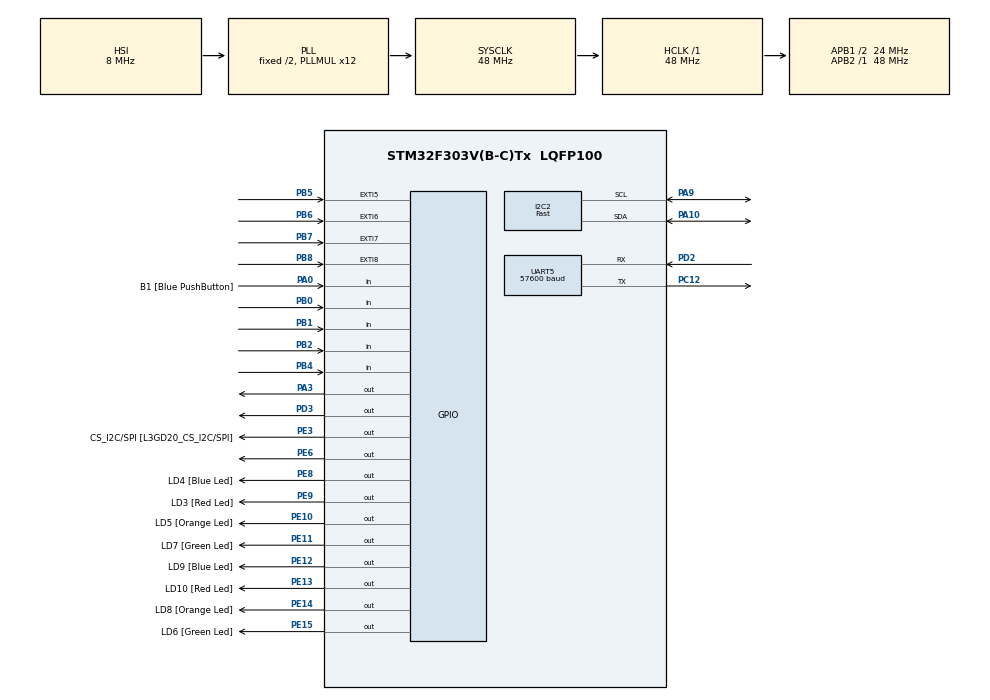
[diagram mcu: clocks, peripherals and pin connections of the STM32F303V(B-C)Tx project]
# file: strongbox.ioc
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I2C2.I2C_Speed_Mode=I2C_Fast
I2C2.Timing=0x0000020B
Mcu.Family=STM32F3
Mcu.Name=STM32F303V(B-C)Tx
Mcu.Package=LQFP100
NVIC.EXTI9_5_IRQn=true\:0\:0\:false\:false\:true\:true\:true\:true
NVIC.PriorityGroup=NVIC_PRIORITYGROUP_4
PA0.GPIO_Label=B1 [Blue PushButton]
PA0.GPIO_Mode=GPIO_MODE_INPUT
PA0.GPIO_PuPd=GPIO_NOPULL
PA0.Signal=GPIO_Input
PA10.Mode=I2C
PA10.Signal=I2C2_SDA
PA11.GPIO_Label=DM
PA11.Signal=USB_DM
PA12.GPIO_Label=DP
PA12.Signal=USB_DP
PA13.GPIO_Label=SWDIO
PA13.Mode=Serial_Wire
PA13.Signal=SYS_JTMS-SWDIO
PA14.GPIO_Label=SWCLK
PA14.Mode=Serial_Wire
PA14.Signal=SYS_JTCK-SWCLK
PA3.Signal=GPIO_Output
PA5.GPIO_Label=SPI1_SCK [L3GD20_SCL/SPC]
PA5.GPIO_Mode=GPIO_MODE_AF_PP
PA5.GPIO_PuPd=GPIO_NOPULL
PA5.GPIO_Speed=GPIO_SPEED_FREQ_LOW
PA5.Signal=SPI1_SCK
PA6.GPIO_Label=SPI1_MISO [L3GD20_SA0/SDO]
PA6.GPIO_Mode=GPIO_MODE_AF_PP
PA6.GPIO_PuPd=GPIO_NOPULL
PA6.GPIO_Speed=GPIO_SPEED_FREQ_LOW
PA6.Signal=SPI1_MISO
PA7.GPIO_Label=SPI1_MISO [L3GD20_SDA/SDI/SDO]
PA7.GPIO_Mode=GPIO_MODE_AF_PP
PA7.GPIO_PuPd=GPIO_NOPULL
PA7.GPIO_Speed=GPIO_SPEED_FREQ_LOW
PA7.Signal=SPI1_MOSI
PA9.Mode=I2C
PA9.Signal=I2C2_SCL
PB0.Signal=GPIO_Input
PB1.Signal=GPIO_Input
PB2.Signal=GPIO_Input
PB3.GPIO_Label=SWO
PB3.Signal=SYS_JTDO-TRACESWO
PB4.Signal=GPIO_Input
PB5.GPIO_ModeDefaultEXTI=GPIO_MODE_IT_FALLING
PB5.Signal=GPXTI5
PB6.GPIO_ModeDefaultEXTI=GPIO_MODE_IT_FALLING
PB6.Signal=GPXTI6
PB7.GPIO_ModeDefaultEXTI=GPIO_MODE_IT_FALLING
PB7.Signal=GPXTI7
PB8.GPIO_ModeDefaultEXTI=GPIO_MODE_IT_FALLING
PB8.Signal=GPXTI8
PC12.Mode=Asynchronous
PC12.Signal=UART5_TX
PC14-OSC32_IN.GPIO_Label=OSC32_IN
PC14-OSC32_IN.Signal=RCC_OSC32_IN
PC15-OSC32_OUT.GPIO_Label=OSC32_OUT
PC15-OSC32_OUT.Signal=RCC_OSC32_OUT
PD2.Mode=Asynchronous
PD2.Signal=UART5_RX
PD3.Signal=GPIO_Output
PE10.GPIO_Label=LD5 [Orange Led]
PE10.GPIO_ModeDefaultOutputPP=GPIO_MODE_OUTPUT_PP
PE10.GPIO_PuPd=GPIO_NOPULL
PE10.GPIO_Speed=GPIO_SPEED_FREQ_LOW
PE10.Signal=GPIO_Output
PE11.GPIO_Label=LD7 [Green Led]
PE11.GPIO_ModeDefaultOutputPP=GPIO_MODE_OUTPUT_PP
PE11.GPIO_PuPd=GPIO_NOPULL
PE11.GPIO_Speed=GPIO_SPEED_FREQ_LOW
PE11.Signal=GPIO_Output
PE12.GPIO_Label=LD9 [Blue Led]
PE12.GPIO_ModeDefaultOutputPP=GPIO_MODE_OUTPUT_PP
PE12.GPIO_PuPd=GPIO_NOPULL
PE12.GPIO_Speed=GPIO_SPEED_FREQ_LOW
PE12.Signal=GPIO_Output
PE13.GPIO_Label=LD10 [Red Led]
PE13.GPIO_ModeDefaultOutputPP=GPIO_MODE_OUTPUT_PP
PE13.GPIO_PuPd=GPIO_NOPULL
PE13.GPIO_Speed=GPIO_SPEED_FREQ_LOW
PE13.Signal=GPIO_Output
PE14.GPIO_Label=LD8 [Orange Led]
PE14.GPIO_ModeDefaultOutputPP=GPIO_MODE_OUTPUT_PP
PE14.GPIO_PuPd=GPIO_NOPULL
PE14.GPIO_Speed=GPIO_SPEED_FREQ_LOW
PE14.Signal=GPIO_Output
PE15.GPIO_Label=LD6 [Green Led]
PE15.GPIO_ModeDefaultOutputPP=GPIO_MODE_OUTPUT_PP
PE15.GPIO_PuPd=GPIO_NOPULL
PE15.GPIO_Speed=GPIO_SPEED_FREQ_LOW
PE15.Signal=GPIO_Output
PE3.GPIO_Label=CS_I2C/SPI [L3GD20_CS_I2C/SPI]
PE3.GPIO_ModeDefaultOutputPP=GPIO_MODE_OUTPUT_PP
PE3.GPIO_PuPd=GPIO_NOPULL
PE3.GPIO_Speed=GPIO_SPEED_FREQ_LOW
PE3.Signal=GPIO_Output
PE6.Signal=GPIO_Output
PE8.GPIO_Label=LD4 [Blue Led]
PE8.GPIO_ModeDefaultOutputPP=GPIO_MODE_OUTPUT_PP
PE8.GPIO_PuPd=GPIO_NOPULL
PE8.GPIO_Speed=GPIO_SPEED_FREQ_LOW
PE8.Signal=GPIO_Output
PE9.GPIO_Label=LD3 [Red Led]
PE9.GPIO_ModeDefaultOutputPP=GPIO_MODE_OUTPUT_PP
PE9.GPIO_PuPd=GPIO_NOPULL
PE9.GPIO_Speed=GPIO_SPEED_FREQ_LOW
PE9.Signal=GPIO_Output
PF0-OSC_IN.GPIO_Label=OSC_IN
PF0-OSC_IN.Signal=RCC_OSC_IN
PF1-OSC_OUT.GPIO_Label=OSC_OUT
PF1-OSC_OUT.Signal=RCC_OSC_OUT
ProjectManager.HeapSize=0x200
ProjectManager.StackSize=0x400
ProjectManager.TargetToolchain=STM32CubeIDE
RCC.AHBFreq_Value=48000000
RCC.APB1CLKDivider=RCC_HCLK_DIV2
RCC.APB1Freq_Value=24000000
RCC.APB1TimFreq_Value=48000000
RCC.APB2Freq_Value=48000000
RCC.APB2TimFreq_Value=48000000
RCC.CortexFreq_Value=48000000
RCC.HCLKFreq_Value=48000000
RCC.HSE_VALUE=8000000
RCC.HSI_VALUE=8000000
RCC.LSE_VALUE=32768
RCC.PLLMUL=RCC_PLL_MUL12
RCC.SYSCLKFreq_VALUE=48000000
RCC.SYSCLKSourceVirtual=RCC_SYSCLKSOURCE_PLLCLK
RCC.USBFreq_Value=48000000
UART5.BaudRate=57600
board=STM32F3DISCOVERY

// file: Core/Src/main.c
/* USER CODE BEGIN Header */
/**
  ******************************************************************************
  * @file           : main.c
  * @brief          : Main program body
  ******************************************************************************
  * @attention
  *
  * Copyright (c) 2024 STMicroelectronics.
  * All rights reserved.
  *
  * This software is licensed under terms that can be found in the LICENSE file
  * in the root directory of this software component.
  * If no LICENSE file comes with this software, it is provided AS-IS.
  *
  ******************************************************************************
  */
/* USER CODE END Header */
#include "main.h"

/* USER CODE BEGIN Includes */

#include "KEYPAD.h"
#include "ssd1306.h"
#include "ssd1306_font.h"
#include "fingerprint.h"

/* USER CODE END Includes */

I2C_HandleTypeDef hi2c2;

UART_HandleTypeDef huart5;

/* USER CODE BEGIN PV */

// -----------------------------------
//		CONFIGURATION
//
// -- BUZZER on PD3
//
// -- RELAY on PE6
//
// -- KEYPAD
// -- rows     PB0-PB1-PB2-PB4
// -- columns  PB5-PB6-PB7-PB8

// display SDA PA10  - SCL PA9
//
// -----------------------------------

// -- MAPPING TASTI KEYPAD
#define KEY_1       0
#define KEY_2       1
#define KEY_3       2
#define KEY_A       3
#define KEY_4       4
#define KEY_5       5
#define KEY_6       6
#define KEY_B       7
#define KEY_7       8
#define KEY_8       9
#define KEY_9       10
#define KEY_C       11
#define KEY_S       12
#define KEY_0       13
#define KEY_H       14
#define KEY_D       15

// -- VARIABILI GLOBALI
uint8_t gu8_KeyStatesArr[KEYS] = {0};
uint8_t password[4] = {0};						// password inserita
uint8_t correct_psw[4] = {'1','7','2','8'};		// password corretta
volatile uint8_t counter = 0; 					// contatore char immessi
uint8_t keypress = 0; 							// FLAG button press | 1 se premuto - 0 altrimenti

uint8_t IDFromFinger;
uint8_t CurrentNumberFinger;

/* USER CODE END PV */

void SystemClock_Config(void);
static void MX_GPIO_Init(void);
static void MX_I2C2_Init(void);
static void MX_UART5_Init(void);

int main(void)
{

  /* USER CODE BEGIN 1 */

uint8_t FingerResult;

  /* USER CODE END 1 */

  /* MCU Configuration--------------------------------------------------------*/

  /* Reset of all peripherals, Initializes the Flash interface and the Systick. */
   HAL_Init();

  /* Configure the system clock */
  SystemClock_Config();

  /* Initialize all configured peripherals */
  MX_GPIO_Init();
  MX_I2C2_Init();
  MX_UART5_Init();
  /* USER CODE BEGIN 2 */

  // inizializzazione KEYPAD
  KEYPAD_Init(0, gu8_KeyStatesArr);

  // inizializzazione buzzer e relay
  HAL_GPIO_WritePin(GPIOE, GPIO_PIN_6, 0);
  HAL_GPIO_WritePin(GPIOD, GPIO_PIN_3, 0);

  // -- DISPLAY CONFIG --
  ssd1306_init();
  //scritta
  ssd1306_write_string(font11x18, "PASSWORD:");
  ssd1306_enter();
  ssd1306_enter();
  // show
  ssd1306_update_screen();

  CurrentNumberFinger=GetNumberOfFinger();

    if(CurrentNumberFinger>100)
  	{
  		CurrentNumberFinger=1;
  	}

     ProcessRegistryNewFinger();
     HAL_Delay(1000); // Attendi un secondo prima di ripetere la verifica

  /* USER CODE END 2 */

  /* Infinite loop */
  /* USER CODE BEGIN WHILE */

  while (1)
  {

	  FingerResult=CheckFinger();

	  	if(FingerResult==FP_OK)
	  	{
	  		//IMPRONTA TROVATA APRO LA SERRATURA
			HAL_GPIO_WritePin(GPIOE, GPIO_PIN_6, 1);  	// relay su PE6

			  // -- DISPLAY --
			  ssd1306_init();
			  //scritta
			  ssd1306_write_string(font11x18, " ");
			  ssd1306_enter();
			  ssd1306_write_string(font16x26, "CORRECT");
			  // show
			  ssd1306_update_screen();

			  HAL_Delay(1000);

			  // -- DISPLAY CONFIG --
			  ssd1306_init();
			  //scritta
			  ssd1306_write_string(font11x18, "PASSWORD:");
			  ssd1306_enter();
			  ssd1306_enter();
			  // show
			  ssd1306_update_screen();

	  	}
	  	else if(FingerResult==FP_FINGER_NOTFOUND)
	  	{
	  		//IMPRONTA NON TROVATA SUONA ALLARME

	  		// -- INIT DISPLAY --
			  ssd1306_init();
			  //scritta
			  ssd1306_write_string(font11x18, " ");
			  ssd1306_enter();
			  ssd1306_write_string(font16x26, " ERROR");
			  // show
			  ssd1306_update_screen();

			  // PASSWORD SBAGLIATA
			  HAL_GPIO_WritePin (GPIOD, GPIO_PIN_3, GPIO_PIN_SET); // buzzer su PD3
			  HAL_Delay(100); // suona per 1 second0
			  HAL_GPIO_WritePin (GPIOD, GPIO_PIN_3, GPIO_PIN_RESET);
			  HAL_Delay(100);

			  HAL_GPIO_WritePin (GPIOD, GPIO_PIN_3, GPIO_PIN_SET); // buzzer su PD3
			  HAL_Delay(100); // suona per 1 second0
			  HAL_GPIO_WritePin (GPIOD, GPIO_PIN_3, GPIO_PIN_RESET);
			  HAL_Delay(100);

			  HAL_GPIO_WritePin (GPIOD, GPIO_PIN_3, GPIO_PIN_SET); // buzzer su PD3
			  HAL_Delay(100); // suona per 1 second0
			  HAL_GPIO_WritePin (GPIOD, GPIO_PIN_3, GPIO_PIN_RESET);

			  HAL_Delay(1000);

			  // -- DISPLAY CONFIG --
			  ssd1306_init();
			  //scritta
			  ssd1306_write_string(font11x18, "PASSWORD:");
			  ssd1306_enter();
			  ssd1306_enter();
			  // show
			  ssd1306_update_screen();

	  	}

///CODICE KEYPAD

	  // -- ABILITO LINEE DI INTERRUZIONE --
	  if(HAL_GPIO_ReadPin (GPIOB, GPIO_PIN_5)==1){
		  HAL_GPIO_WritePin(GPIOB, GPIO_PIN_5, 0);
		  HAL_GPIO_WritePin(GPIOB, GPIO_PIN_6, 1);
		  HAL_GPIO_WritePin(GPIOB, GPIO_PIN_7, 1);
		  HAL_GPIO_WritePin(GPIOB, GPIO_PIN_8, 1);
	  }
	  else if(HAL_GPIO_ReadPin (GPIOB, GPIO_PIN_6)==1){
		  HAL_GPIO_WritePin(GPIOB, GPIO_PIN_5, 1);
		  HAL_GPIO_WritePin(GPIOB, GPIO_PIN_6, 0);
		  HAL_GPIO_WritePin(GPIOB, GPIO_PIN_7, 1);
		  HAL_GPIO_WritePin(GPIOB, GPIO_PIN_8, 1);
	  }
	  else if(HAL_GPIO_ReadPin (GPIOB, GPIO_PIN_7)==1){
		  HAL_GPIO_WritePin(GPIOB, GPIO_PIN_5, 1);
		  HAL_GPIO_WritePin(GPIOB, GPIO_PIN_6, 1);
		  HAL_GPIO_WritePin(GPIOB, GPIO_PIN_7, 0);
		  HAL_GPIO_WritePin(GPIOB, GPIO_PIN_8, 1);
	  	  }
	  else if(HAL_GPIO_ReadPin (GPIOB, GPIO_PIN_8)==1){
		  HAL_GPIO_WritePin(GPIOB, GPIO_PIN_5, 1);
		  HAL_GPIO_WritePin(GPIOB, GPIO_PIN_6, 1);
		  HAL_GPIO_WritePin(GPIOB, GPIO_PIN_7, 1);
		  HAL_GPIO_WritePin(GPIOB, GPIO_PIN_8, 0);
	  	  }

	  // incremento contatore ogni bottone premuto e azzero il flag
	  if(keypress == 1){
		  counter++;

		  // -- DISPLAY CONFIG --
		  ssd1306_write_string(font16x26, "* ");
		  // show
		  ssd1306_update_screen();

		  keypress = 0;
	  }

	  // -- CHECK PASSWORD --
	  // entro dopo aver inserito 4 caratteri
	  if(4 == counter){

		  int i = 0; //contatore caratteri confrontati

		  while(i<4){
			  if(password[i] == correct_psw[i]){
				  i++;
			  }
			  else {

				  // -- INIT DISPLAY --
				  ssd1306_init();
				  //scritta
				  ssd1306_write_string(font11x18, " ");
				  ssd1306_enter();
				  ssd1306_write_string(font16x26, " ERROR");
				  // show
				  ssd1306_update_screen();

				  // PASSWORD SBAGLIATA
				  HAL_GPIO_WritePin (GPIOD, GPIO_PIN_3, GPIO_PIN_SET); // buzzer su PD3
				  HAL_Delay(100); // suona per 1 second0
				  HAL_GPIO_WritePin (GPIOD, GPIO_PIN_3, GPIO_PIN_RESET);
				  HAL_Delay(100);

				  HAL_GPIO_WritePin (GPIOD, GPIO_PIN_3, GPIO_PIN_SET); // buzzer su PD3
				  HAL_Delay(100); // suona per 1 second0
				  HAL_GPIO_WritePin (GPIOD, GPIO_PIN_3, GPIO_PIN_RESET);
				  HAL_Delay(100);

				  HAL_GPIO_WritePin (GPIOD, GPIO_PIN_3, GPIO_PIN_SET); // buzzer su PD3
				  HAL_Delay(100); // suona per 1 second0
				  HAL_GPIO_WritePin (GPIOD, GPIO_PIN_3, GPIO_PIN_RESET);
				  break;
			  }
		  }

		  // SBLOCCO - BLOCCO SERRATURA
		  if(i == 4){

			  HAL_GPIO_TogglePin(GPIOE, GPIO_PIN_6);  	// relay su PE6

			  // -- DISPLAY --
			  ssd1306_init();
			  //scritta
			  ssd1306_write_string(font11x18, " ");
			  ssd1306_enter();
			  ssd1306_write_string(font16x26, "CORRECT");
			  // show
			  ssd1306_update_screen();
		  }

		  counter = 0;

		  // -- INIT DISPLAY --
		  HAL_Delay(1700);
		  ssd1306_init();
		  //scritta
		  ssd1306_write_string(font11x18, "PASSWORD:");
		  ssd1306_enter();
		  ssd1306_enter();
		  // show
		  ssd1306_update_screen();

	  }

    /* USER CODE END WHILE */

  }
}

void SystemClock_Config(void)
{
  RCC_OscInitTypeDef RCC_OscInitStruct = {0};
  RCC_ClkInitTypeDef RCC_ClkInitStruct = {0};
  RCC_PeriphCLKInitTypeDef PeriphClkInit = {0};

  /** Initializes the RCC Oscillators according to the specified parameters
  * in the RCC_OscInitTypeDef structure.
  */
  RCC_OscInitStruct.OscillatorType = RCC_OSCILLATORTYPE_HSI;
  RCC_OscInitStruct.HSIState = RCC_HSI_ON;
  RCC_OscInitStruct.HSICalibrationValue = RCC_HSICALIBRATION_DEFAULT;
  RCC_OscInitStruct.PLL.PLLState = RCC_PLL_ON;
  RCC_OscInitStruct.PLL.PLLSource = RCC_PLLSOURCE_HSI;
  RCC_OscInitStruct.PLL.PLLMUL = RCC_PLL_MUL12;
  if (HAL_RCC_OscConfig(&RCC_OscInitStruct) != HAL_OK)
  {
    Error_Handler();
  }

  /** Initializes the CPU, AHB and APB buses clocks
  */
  RCC_ClkInitStruct.ClockType = RCC_CLOCKTYPE_HCLK|RCC_CLOCKTYPE_SYSCLK
                              |RCC_CLOCKTYPE_PCLK1|RCC_CLOCKTYPE_PCLK2;
  RCC_ClkInitStruct.SYSCLKSource = RCC_SYSCLKSOURCE_PLLCLK;
  RCC_ClkInitStruct.AHBCLKDivider = RCC_SYSCLK_DIV1;
  RCC_ClkInitStruct.APB1CLKDivider = RCC_HCLK_DIV2;
  RCC_ClkInitStruct.APB2CLKDivider = RCC_HCLK_DIV1;

  if (HAL_RCC_ClockConfig(&RCC_ClkInitStruct, FLASH_LATENCY_1) != HAL_OK)
  {
    Error_Handler();
  }
  PeriphClkInit.PeriphClockSelection = RCC_PERIPHCLK_UART5|RCC_PERIPHCLK_I2C2;
  PeriphClkInit.Uart5ClockSelection = RCC_UART5CLKSOURCE_PCLK1;
  PeriphClkInit.I2c2ClockSelection = RCC_I2C2CLKSOURCE_HSI;
  if (HAL_RCCEx_PeriphCLKConfig(&PeriphClkInit) != HAL_OK)
  {
    Error_Handler();
  }
}

static void MX_I2C2_Init(void)
{

  hi2c2.Instance = I2C2;
  hi2c2.Init.Timing = 0x0000020B;
  hi2c2.Init.OwnAddress1 = 0;
  hi2c2.Init.AddressingMode = I2C_ADDRESSINGMODE_7BIT;
  hi2c2.Init.DualAddressMode = I2C_DUALADDRESS_DISABLE;
  hi2c2.Init.OwnAddress2 = 0;
  hi2c2.Init.OwnAddress2Masks = I2C_OA2_NOMASK;
  hi2c2.Init.GeneralCallMode = I2C_GENERALCALL_DISABLE;
  hi2c2.Init.NoStretchMode = I2C_NOSTRETCH_DISABLE;
  if (HAL_I2C_Init(&hi2c2) != HAL_OK)
  {
    Error_Handler();
  }

  /** Configure Analogue filter
  */
  if (HAL_I2CEx_ConfigAnalogFilter(&hi2c2, I2C_ANALOGFILTER_ENABLE) != HAL_OK)
  {
    Error_Handler();
  }

  /** Configure Digital filter
  */
  if (HAL_I2CEx_ConfigDigitalFilter(&hi2c2, 0) != HAL_OK)
  {
    Error_Handler();
  }

}

static void MX_UART5_Init(void)
{

  huart5.Instance = UART5;
  huart5.Init.BaudRate = 57600;
  huart5.Init.WordLength = UART_WORDLENGTH_8B;
  huart5.Init.StopBits = UART_STOPBITS_1;
  huart5.Init.Parity = UART_PARITY_NONE;
  huart5.Init.Mode = UART_MODE_TX_RX;
  huart5.Init.HwFlowCtl = UART_HWCONTROL_NONE;
  huart5.Init.OverSampling = UART_OVERSAMPLING_16;
  huart5.Init.OneBitSampling = UART_ONE_BIT_SAMPLE_DISABLE;
  huart5.AdvancedInit.AdvFeatureInit = UART_ADVFEATURE_NO_INIT;
  if (HAL_UART_Init(&huart5) != HAL_OK)
  {
    Error_Handler();
  }

}

static void MX_GPIO_Init(void)
{
  GPIO_InitTypeDef GPIO_InitStruct = {0};

  /* GPIO Ports Clock Enable */
  __HAL_RCC_GPIOE_CLK_ENABLE();
  __HAL_RCC_GPIOC_CLK_ENABLE();
  __HAL_RCC_GPIOF_CLK_ENABLE();
  __HAL_RCC_GPIOA_CLK_ENABLE();
  __HAL_RCC_GPIOB_CLK_ENABLE();
  __HAL_RCC_GPIOD_CLK_ENABLE();

  /*Configure GPIO pin Output Level */
  HAL_GPIO_WritePin(GPIOE, CS_I2C_SPI_Pin|GPIO_PIN_6|LD4_Pin|LD3_Pin
                          |LD5_Pin|LD7_Pin|LD9_Pin|LD10_Pin
                          |LD8_Pin|LD6_Pin, GPIO_PIN_RESET);

  /*Configure GPIO pin Output Level */
  HAL_GPIO_WritePin(GPIOA, GPIO_PIN_3, GPIO_PIN_RESET);

  /*Configure GPIO pin Output Level */
  HAL_GPIO_WritePin(GPIOD, GPIO_PIN_3, GPIO_PIN_RESET);

  /*Configure GPIO pins : CS_I2C_SPI_Pin PE6 LD4_Pin LD3_Pin
                           LD5_Pin LD7_Pin LD9_Pin LD10_Pin
                           LD8_Pin LD6_Pin */
  GPIO_InitStruct.Pin = CS_I2C_SPI_Pin|GPIO_PIN_6|LD4_Pin|LD3_Pin
                          |LD5_Pin|LD7_Pin|LD9_Pin|LD10_Pin
                          |LD8_Pin|LD6_Pin;
  GPIO_InitStruct.Mode = GPIO_MODE_OUTPUT_PP;
  GPIO_InitStruct.Pull = GPIO_NOPULL;
  GPIO_InitStruct.Speed = GPIO_SPEED_FREQ_LOW;
  HAL_GPIO_Init(GPIOE, &GPIO_InitStruct);

  /*Configure GPIO pin : B1_Pin */
  GPIO_InitStruct.Pin = B1_Pin;
  GPIO_InitStruct.Mode = GPIO_MODE_INPUT;
  GPIO_InitStruct.Pull = GPIO_NOPULL;
  HAL_GPIO_Init(B1_GPIO_Port, &GPIO_InitStruct);

  /*Configure GPIO pin : PA3 */
  GPIO_InitStruct.Pin = GPIO_PIN_3;
  GPIO_InitStruct.Mode = GPIO_MODE_OUTPUT_PP;
  GPIO_InitStruct.Pull = GPIO_NOPULL;
  GPIO_InitStruct.Speed = GPIO_SPEED_FREQ_LOW;
  HAL_GPIO_Init(GPIOA, &GPIO_InitStruct);

  /*Configure GPIO pins : SPI1_SCK_Pin SPI1_MISO_Pin SPI1_MISOA7_Pin */
  GPIO_InitStruct.Pin = SPI1_SCK_Pin|SPI1_MISO_Pin|SPI1_MISOA7_Pin;
  GPIO_InitStruct.Mode = GPIO_MODE_AF_PP;
  GPIO_InitStruct.Pull = GPIO_NOPULL;
  GPIO_InitStruct.Speed = GPIO_SPEED_FREQ_LOW;
  GPIO_InitStruct.Alternate = GPIO_AF5_SPI1;
  HAL_GPIO_Init(GPIOA, &GPIO_InitStruct);

  /*Configure GPIO pins : PB0 PB1 PB2 PB4 */
  GPIO_InitStruct.Pin = GPIO_PIN_0|GPIO_PIN_1|GPIO_PIN_2|GPIO_PIN_4;
  GPIO_InitStruct.Mode = GPIO_MODE_INPUT;
  GPIO_InitStruct.Pull = GPIO_NOPULL;
  HAL_GPIO_Init(GPIOB, &GPIO_InitStruct);

  /*Configure GPIO pins : DM_Pin DP_Pin */
  GPIO_InitStruct.Pin = DM_Pin|DP_Pin;
  GPIO_InitStruct.Mode = GPIO_MODE_AF_PP;
  GPIO_InitStruct.Pull = GPIO_NOPULL;
  GPIO_InitStruct.Speed = GPIO_SPEED_FREQ_HIGH;
  GPIO_InitStruct.Alternate = GPIO_AF14_USB;
  HAL_GPIO_Init(GPIOA, &GPIO_InitStruct);

  /*Configure GPIO pin : PD3 */
  GPIO_InitStruct.Pin = GPIO_PIN_3;
  GPIO_InitStruct.Mode = GPIO_MODE_OUTPUT_PP;
  GPIO_InitStruct.Pull = GPIO_NOPULL;
  GPIO_InitStruct.Speed = GPIO_SPEED_FREQ_LOW;
  HAL_GPIO_Init(GPIOD, &GPIO_InitStruct);

  /*Configure GPIO pins : PB5 PB6 PB7 PB8 */
  GPIO_InitStruct.Pin = GPIO_PIN_5|GPIO_PIN_6|GPIO_PIN_7|GPIO_PIN_8;
  GPIO_InitStruct.Mode = GPIO_MODE_IT_FALLING;
  GPIO_InitStruct.Pull = GPIO_NOPULL;
  HAL_GPIO_Init(GPIOB, &GPIO_InitStruct);

  /* EXTI interrupt init*/
  HAL_NVIC_SetPriority(EXTI9_5_IRQn, 0, 0);
  HAL_NVIC_EnableIRQ(EXTI9_5_IRQn);

}

/* USER CODE BEGIN 4 */

void HAL_GPIO_EXTI_Callback(uint16_t GPIO_Pin){

		// controllo LETTURA PIN colonne
		if(GPIO_Pin == (GPIO_PIN_5) || GPIO_Pin == (GPIO_PIN_6) ||  GPIO_Pin == (GPIO_PIN_7) || GPIO_Pin == (GPIO_PIN_8)){

			// inizializzazione keypad
			KEYPAD_Init(0, gu8_KeyStatesArr);

			// leggo il bottone premuto
			KEYPAD_Scan(0);

			// button 1
			if(gu8_KeyStatesArr[KEY_1] == KEY_PRESSED){
				password[counter]='1';
				keypress = 1;
			}

			// button 2
			else if(gu8_KeyStatesArr[KEY_2] == KEY_PRESSED){
				password[counter]='2';
				keypress = 1;
			}

			// button 3
			else if(gu8_KeyStatesArr[KEY_3] == KEY_PRESSED){
				password[counter]='3';
				keypress = 1;
			}

			// button A
			else if(gu8_KeyStatesArr[KEY_A] == KEY_PRESSED){
				password[counter]='A';
				keypress = 1;
			}

			// button 4
			else if(gu8_KeyStatesArr[KEY_4] == KEY_PRESSED){
				password[counter]='4';
				keypress = 1;
			}

			// button 5
			else if(gu8_KeyStatesArr[KEY_5] == KEY_PRESSED){
				password[counter]='5';
				keypress = 1;
			}

			// button 6
			else if(gu8_KeyStatesArr[KEY_6] == KEY_PRESSED){
				password[counter]='6';
				keypress = 1;
			}

			// button B
			else if(gu8_KeyStatesArr[KEY_B] == KEY_PRESSED){
				password[counter]='B';
				keypress = 1;
			}

			// button 7
			else if(gu8_KeyStatesArr[KEY_7] == KEY_PRESSED){
				password[counter]='7';
				keypress = 1;
			}

			// button 8
			else if(gu8_KeyStatesArr[KEY_8] == KEY_PRESSED){
				password[counter]='8';
				keypress = 1;
			}

			// button 9
			else if(gu8_KeyStatesArr[KEY_9] == KEY_PRESSED){
				password[counter]='9';
				keypress = 1;
			}

			// button C
			else if(gu8_KeyStatesArr[KEY_C] == KEY_PRESSED){
				password[counter]='C';
				keypress = 1;
			}

			// button S
			else if(gu8_KeyStatesArr[KEY_S] == KEY_PRESSED){
				password[counter]='S';
				keypress = 1;
			}

			// button 0
			else if(gu8_KeyStatesArr[KEY_0] == KEY_PRESSED){
				password[counter]='0';
				keypress = 1;
			}

			// button H
			else if(gu8_KeyStatesArr[KEY_H] == KEY_PRESSED){
				password[counter]='H';
				keypress = 1;
			}

			// button D
			else if(gu8_KeyStatesArr[KEY_D] == KEY_PRESSED){
				password[counter]='D';
				keypress = 1;
			}

		}
}

/* USER CODE END 4 */

void Error_Handler(void)
{
  __disable_irq();
  while (1)
  {
  }
}
